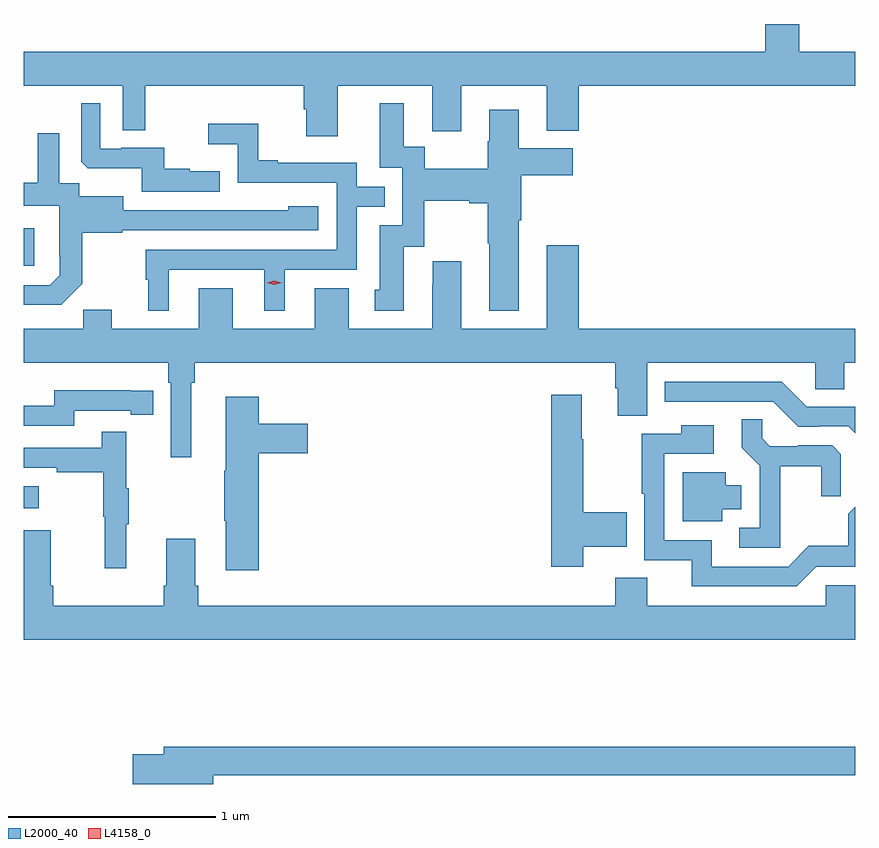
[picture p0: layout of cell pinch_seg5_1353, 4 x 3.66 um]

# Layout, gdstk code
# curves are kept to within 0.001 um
import gdstk
lib = gdstk.Library(unit=1e-6, precision=1e-09)
def R(c, l, rs):  # rectangles x0, y0, x1, y1
    for r in rs: c.add(gdstk.rectangle(r[:2], r[2:], *l))
def P(c, l, *ps):  # polygons
    for p in ps: c.add(gdstk.Polygon(p, *l))
L2000_40 = (2000, 40)
L4158_0 = (4158, 0)

pinch_seg5_1353 = lib.new_cell('pinch_seg5_1353')
R(pinch_seg5_1353, L2000_40, [(206.991,894.689,207.064,894.793), (206.991,895.854,207.043,896.035)])
P(pinch_seg5_1353, L2000_40, [(208.501,896.72),(208.955,896.72),(208.955,896.502),(209.095,896.502),(209.095,896.72),(209.507,896.72),(209.507,896.504),(209.66,896.504),(209.66,896.72),(210.991,896.72),(210.991,896.884),(210.722,896.884),(210.722,897.017),(210.557,897.017),(210.557,896.884),(206.991,896.884),(206.991,896.72),(207.468,896.72),(207.468,896.506),(207.577,896.506),(207.577,896.72),(208.337,896.72),(208.337,896.607),(208.349,896.607),(208.349,896.478),(208.501,896.478)],
  [(207.935,896.308),(207.791,896.308),(207.791,896.32),(207.668,896.32),(207.668,896.421),(207.46,896.421),(207.46,896.418),(207.36,896.418),(207.36,896.635),(207.267,896.635),(207.267,896.355),(207.299,896.324),(207.558,896.324),(207.558,896.211),(207.935,896.211)],
  [(209.371,896.072),(209.384,896.072),(209.384,896.29),(209.632,896.29),(209.632,896.419),(209.371,896.419),(209.371,896.605),(209.231,896.605),(209.231,896.454),(209.224,896.454),(209.224,896.32),(208.921,896.32),(208.921,896.426),(208.819,896.426),(208.819,896.635),(208.703,896.635),(208.703,896.325),(208.812,896.325),(208.812,896.049),(208.703,896.049),(208.703,895.74),(208.679,895.74),(208.679,895.638),(208.819,895.638),(208.819,895.946),(208.917,895.946),(208.917,896.168),(209.135,896.168),(209.135,896.156),(209.224,896.156),(209.224,895.963),(209.231,895.963),(209.231,895.637),(209.371,895.637)],
  [(207.688,895.836),(208.148,895.836),(208.148,895.637),(208.246,895.637),(208.246,895.836),(208.593,895.836),(208.593,896.139),(208.727,896.139),(208.727,896.235),(208.593,896.235),(208.593,896.349),(208.213,896.349),(208.213,896.362),(208.119,896.362),(208.119,896.537),(207.879,896.537),(207.879,896.438),(208.02,896.438),(208.02,896.253),(208.497,896.253),(208.497,895.932),(207.579,895.932),(207.579,895.788),(207.59,895.788),(207.59,895.637),(207.688,895.637)],
  [(207.273,895.767),(207.273,896.013),(207.465,896.013),(207.465,896.025),(208.408,896.025),(208.408,896.14),(208.263,896.14),(208.263,896.122),(207.469,896.121),(207.469,896.188),(207.258,896.188),(207.258,896.252),(207.163,896.252),(207.163,896.491),(207.059,896.491),(207.059,896.254),(206.991,896.254),(206.991,896.144),(207.162,896.144),(207.162,895.903),(207.164,895.903),(207.164,895.808),(207.117,895.761),(206.991,895.761),(206.991,895.667),(207.173,895.667)],
  [(207.796,895.292),(207.815,895.292),(207.815,895.388),(209.837,895.388),(209.837,895.266),(209.849,895.266),(209.849,895.132),(209.989,895.132),(209.989,895.388),(210.798,895.388),(210.798,895.261),(210.937,895.261),(210.937,895.388),(210.991,895.388),(210.991,895.552),(209.66,895.552),(209.66,895.954),(209.507,895.954),(209.507,895.552),(209.095,895.552),(209.095,895.876),(208.958,895.876),(208.958,895.763),(208.955,895.763),(208.955,895.552),(208.555,895.552),(208.555,895.747),(208.391,895.747),(208.391,895.552),(207.997,895.552),(207.997,895.747),(207.833,895.747),(207.833,895.552),(207.415,895.552),(207.415,895.643),(207.277,895.643),(207.277,895.552),(206.991,895.552),(206.991,895.388),(207.686,895.388),(207.686,895.292),(207.699,895.292),(207.699,894.933),(207.796,894.933)],
  [(210.991,895.176),(210.756,895.176),(210.636,895.296),(210.074,895.296),(210.074,895.2),(210.597,895.2),(210.717,895.08),(210.818,895.08),(210.818,895.083),(210.957,895.083),(210.991,895.049)],
  [(207.234,895.158),(207.506,895.158),(207.506,895.138),(207.614,895.138),(207.614,895.254),(207.506,895.254),(207.506,895.255),(207.138,895.255),(207.138,895.182),(206.991,895.182),(206.991,895.086),(207.234,895.086)],
  [(209.682,894.503),(209.891,894.503),(209.891,894.669),(209.682,894.669),(209.682,895.021),(209.674,895.021),(209.674,895.234),(209.528,895.234),(209.528,894.408),(209.682,894.408)],
  [(208.121,894.953),(208.357,894.953),(208.357,895.095),(208.121,895.095),(208.121,895.225),(207.962,895.225),(207.962,894.869),(207.955,894.869),(207.955,894.628),(207.962,894.628),(207.962,894.39),(208.121,894.39)],
  [(210.629,894.89),(210.826,894.89),(210.826,894.747),(210.92,894.747),(210.92,894.949),(210.879,894.99),(210.714,894.99),(210.714,894.987),(210.58,894.987),(210.543,895.024),(210.543,895.115),(210.445,895.115),(210.445,894.979),(210.531,894.893),(210.531,894.594),(210.432,894.594),(210.432,894.498),(210.629,894.498)],
  [(210.804,894.408),(210.991,894.408),(210.991,894.696),(210.957,894.662),(210.957,894.507),(210.768,894.507),(210.669,894.408),(210.301,894.408),(210.301,894.534),(210.072,894.534),(210.072,894.951),(210.31,894.951),(210.31,895.087),(210.154,895.087),(210.154,895.047),(209.964,895.047),(209.964,894.757),(209.976,894.757),(209.976,894.438),(210.203,894.438),(210.203,894.312),(210.708,894.312)],
  [(207.485,894.611),(207.496,894.611),(207.496,894.785),(207.485,894.785),(207.485,895.057),(207.367,895.057),(207.367,894.978),(206.991,894.978),(206.991,894.882),(207.151,894.882),(207.151,894.862),(207.375,894.862),(207.375,894.648),(207.382,894.648),(207.382,894.399),(207.485,894.399)],
  [(210.352,894.683),(210.442,894.683),(210.442,894.799),(210.367,894.799),(210.367,894.862),(210.161,894.862),(210.161,894.626),(210.352,894.626)],
  [(210.991,894.318),(210.849,894.318),(210.849,894.22),(209.989,894.22),(209.989,894.353),(209.837,894.353),(209.837,894.22),(207.83,894.22),(207.83,894.316),(207.817,894.316),(207.817,894.541),(207.677,894.541),(207.677,894.316),(207.665,894.316),(207.665,894.22),(207.134,894.22),(207.134,894.316),(207.121,894.316),(207.121,894.583),(206.991,894.583),(206.991,894.056),(210.991,894.056)],
  [(207.904,893.404),(210.991,893.404),(210.991,893.54),(207.665,893.54),(207.665,893.504),(207.516,893.504),(207.516,893.362),(207.904,893.362)])
P(pinch_seg5_1353, L4158_0, [(208.197,895.763),(208.161,895.772),(208.161,895.773),(208.161,895.773),(208.197,895.783),(208.233,895.773),(208.233,895.773),(208.233,895.772)])

lib.write_gds('pinch_seg5_1353.gds')
